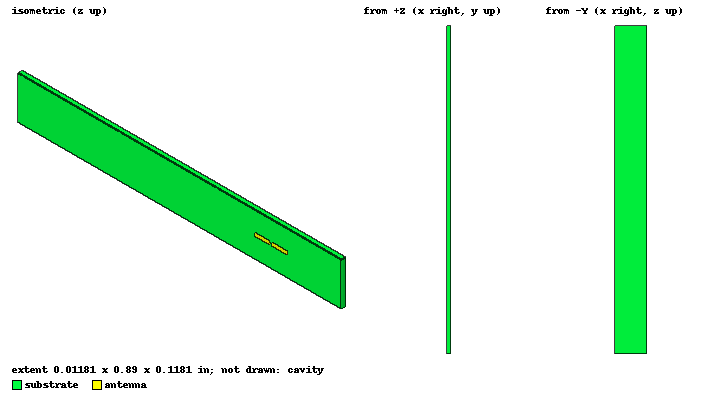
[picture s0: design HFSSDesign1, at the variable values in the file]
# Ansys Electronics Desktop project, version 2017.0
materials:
  vacuum: permittivity=1
  sapphire: permittivity=10
  perfect conductor: conductivity=1e+030

design HFSSDesign1 (HFSS, DrivenModal, model units in)
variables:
  outer_height = 2in
  outer_radius = 0.433in
  inner_radius = 0.0557in
  inner_height = 0.25in
  antenna_gap = 0.1mm
  antenna_width = 0.25mm
  antenna_length = 1.1mm
  Lj = 11.4nH
  strong_port_length = 1.3in
  weak_port_length = 0.305in
  positionz = -7.8740125e-005in
  positiony = 0.14097559in
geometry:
  cavity [vacuum] = cylinder(axis=Z, base_centre=(0in, 0in, 0in), radius=outer_radius, height=outer_height)
  Cylinder2 = cylinder(axis=Z, base_centre=(0in, 0in, 0in), radius=inner_radius, height=inner_height)
  cavity.subtract(Cylinder2)
  substrate [sapphire] = box(corner=(0in, -0.45in, 0.1in), size=(-0.011811024in, (0.41+0.48) in, 0.11811024in))
  substrate_1 = substrate.copy()
  cavity.subtract(substrate_1)
  coordinate_system RelativeCS1 = origin=(0in, 0.105in, 0.15925512in) x=(1in, 0in, 0in) y=(0in, 1in, 0in)
  qbit = rectangle(corner=(0in, (-0.0004/2) in, (-0.0004/2) in), y_size=0.0004in, z_size=0.0004in) in RelativeCS1
  Rectangle2 = rectangle(corner=(100nm, (-0.0004/2) in, (-0.0004/2) in), y_size=0.0004in, z_size=0.0004in) in RelativeCS1
  antenna [perfect conductor] = box(corner=(0in, (0.0004/2) in, (0.0004/2) in), size=(100nm, (antenna_gap-0.0004in)/2, -0.0004in)) in RelativeCS1
  Box2 = box(corner=(0in, (-0.0004/2) in, (-0.0004/2) in), size=(100nm, -(antenna_gap-0.0004in)/2, 0.0004in)) in RelativeCS1
  Box3 = box(corner=(0in, antenna_gap/2, antenna_width/2), size=(100nm, antenna_length, -antenna_width)) in RelativeCS1
  Box4 = box(corner=(0in, -(antenna_gap)/2, antenna_width/2), size=(100nm, -antenna_length, -antenna_width)) in RelativeCS1
  antenna.unite(Box2, Box3, Box4)
  [antenna, qbit, Rectangle2].move(0in, positiony, positionz) in RelativeCS1
  antenna_1 = antenna.copy()
  qbit_1 = qbit.copy()
  Rectangle2_1 = Rectangle2.copy()
  cavity.subtract(antenna_1, qbit_1, Rectangle2_1)
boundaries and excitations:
  qbit: Lumped RLC Objects=qbit CurrentLine{middle of qbit.edge(2 of 4) -> middle of qbit.edge(4 of 4)} Inductance=Lj
  qubit_port: Lumped Port Objects=Rectangle2 Modes{Mode1{IntLine{middle of Rectangle2.edge(4 of 4) -> middle of Rectangle2.edge(2 of 4)} CharImp=Zpi}} Impedance=1e+020ohm
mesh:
  antenna: LengthBased Objects=antenna NumMaxElem=5000 MaxLength=1nm
  ModelResolution1: DefeatureBased Objects=antenna DefeatureLength=10nm
  initial mesh: MeshMethod=AnsoftClassic
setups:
  Cavity_Setup: HfssDriven Frequency=7.5GHz MaxDeltaS=0.001 MaximumPasses=6 MinimumPasses=5 MinimumConvergedPasses=3 PercentRefinement=30 BasisOrder=1 PortAccuracy=2 RayDensityPerWavelength=4 MaxNumberOfBounces=5
    sweep Cavity_Sweep: 7.4GHz to 7.6GHz step 1MHz; 4.8GHz to 4.9GHz step 10GHz; Type=Discrete
  Qubit_Setup: HfssDriven Frequency=5GHz MaxDeltaS=0.001 MaximumPasses=6 MinimumPasses=5 MinimumConvergedPasses=3 PercentRefinement=30 disabled BasisOrder=1 PortAccuracy=2 RayDensityPerWavelength=4 MaxNumberOfBounces=5
    sweep Qubit_Sweep: 4.8GHz to 4.9GHz step 10MHz; Type=Discrete
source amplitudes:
  qubit_port:1: 1W 0deg
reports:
  XY Plot 1: im(Y(qubit_port,qubit_port)) vs Freq on Cavity_Setup : Cavity_Sweep
